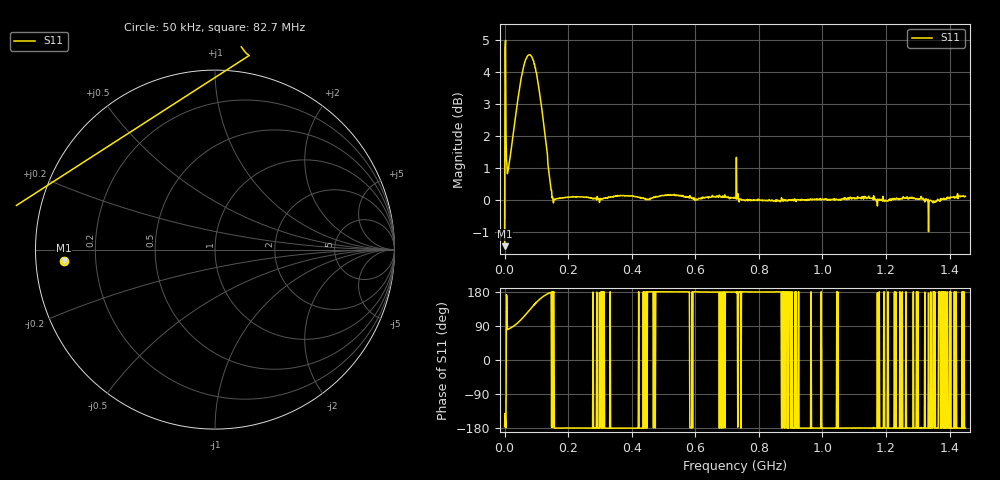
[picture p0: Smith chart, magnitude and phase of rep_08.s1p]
! Created with skrf 1.11.0 (http://scikit-rf.org).
# Hz S RI R 50.0
!freq ReS11 ImS11
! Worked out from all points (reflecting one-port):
!   1001 points, 50 kHz to 1.45 GHz, reference 50 ohm
!   lowest |S11| = -1.5 dB at 50 kHz (marker M1), VSWR 11.98, Z = 4.18 - j1.8 ohm
!   phase of S11 starts at -176 deg and turns -4 deg over the sweep
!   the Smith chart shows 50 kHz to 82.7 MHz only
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50000  -0.8437 -0.0612
8749700  0.1903 1.081
1.019965e7  0.1769 1.091
1.16496e7  0.1665 1.103
1.599945e7  0.1346 1.145
2.61491e7  0.0395 1.254
3.629875e7  -0.1079 1.366
4.64484e7  -0.3094 1.454
5.51481e7  -0.526 1.485
6.529775e7  -0.7969 1.443
7.399745e7  -1.02 1.336
8.7047e7  -1.277 1.068
9.86466e7  -1.366 0.7976
1.073463e8  -1.391 0.5618
1.203958e8  -1.311 0.3016
1.290956e8  -1.229 0.1745
1.406952e8  -1.088 0.0622
1.537447e8  -0.987 0.054
1.812938e8  -1.005 -0.00575
3.625375e8  -1.013 -0.00222
5.437812e8  -1.016 0.00259
7.25025e8  -1.006 0.00881
7.52574e8  -0.9982 0.000774
9.062688e8  -1.001 -0.000978
1.087512e9  -1.009 -0.0113
1.268756e9  -1.002 -0.0112
1.341254e9  -0.9967 0.00305
1.45e9  -1.012 -0.00451
